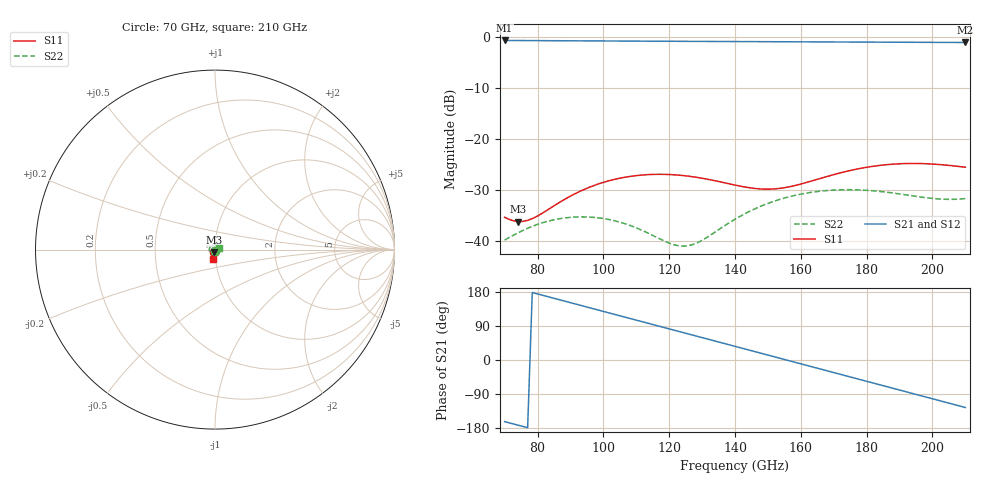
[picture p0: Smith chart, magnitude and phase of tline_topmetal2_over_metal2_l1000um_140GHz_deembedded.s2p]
! Created with skrf 2.0.1 (http://scikit-rf.org).
# GHz S DB R 50.0
!freq dBS11 angS11 dBS21 angS21 dBS12 angS12 dBS22 angS22
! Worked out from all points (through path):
!   101 points, 70 GHz to 210 GHz, reference 50 ohm
!   highest |S21| = -0.62 dB at 70 GHz (marker M1); lowest = -1.0 dB at 210 GHz (marker M2)
!   group delay of S21, straight-line fit = 6.41 ps
!   lowest |S11| = -36.1 dB at 74.2 GHz (marker M3), VSWR 1.03, Z = 49.6 - j1.52 ohm
!   |S11| at or under -10 dB: start of sweep to end of sweep
!   |S22| runs from -41.0 to -29.9 dB; largest |S21 - S12| = 1.6e-13
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70  -35.30 -116.3  -0.62 -162.6  -0.62 -162.6  -39.75 -86.1
74.2  -36.12 -102.5  -0.63 -172.3  -0.63 -172.3  -38.30 -87.0
78.4  -35.56 -87.4  -0.65 178.1  -0.65 178.1  -37.07 -92.6
84  -33.45 -75.7  -0.66 165.1  -0.66 165.1  -35.93 -104.1
93.8  -29.93 -75.0  -0.70 142.5  -0.70 142.5  -35.21 -130.9
100.8  -28.29 -81.0  -0.72 126.4  -0.72 126.4  -35.62 -153.8
106.4  -27.46 -87.0  -0.74 113.5  -0.74 113.5  -36.52 -174.9
112  -26.99 -93.3  -0.75 100.6  -0.75 100.6  -37.92 160.0
117.6  -26.86 -99.2  -0.77 87.7  -0.77 87.7  -39.67 128.2
121.8  -26.97 -103.2  -0.78 78.0  -0.78 78.0  -40.74 97.6
126  -27.24 -106.5  -0.79 68.3  -0.79 68.3  -40.85 62.5
133  -28.00 -109.7  -0.81 52.2  -0.81 52.2  -38.59 9.4
140  -28.97 -108.7  -0.83 36.1  -0.83 36.1  -35.67 -29.4
147  -29.70 -102.4  -0.85 19.9  -0.85 19.9  -33.36 -60.4
152.6  -29.69 -95.0  -0.87 7.0  -0.87 7.0  -31.99 -82.7
158.2  -29.07 -88.2  -0.88 -5.9  -0.88 -5.9  -31.00 -104.0
163.8  -28.08 -84.3  -0.90 -18.8  -0.90 -18.8  -30.34 -125.0
169.4  -27.03 -83.4  -0.91 -31.8  -0.91 -31.8  -29.98 -146.0
176.4  -25.92 -85.3  -0.93 -47.9  -0.93 -47.9  -29.90 -173.1
187.6  -24.89 -91.9  -0.96 -73.7  -0.96 -73.7  -30.50 140.1
198.8  -24.81 -98.7  -0.99 -99.6  -0.99 -99.6  -31.51 85.3
210  -25.48 -101.6  -1.01 -125.4  -1.01 -125.4  -31.61 22.2
